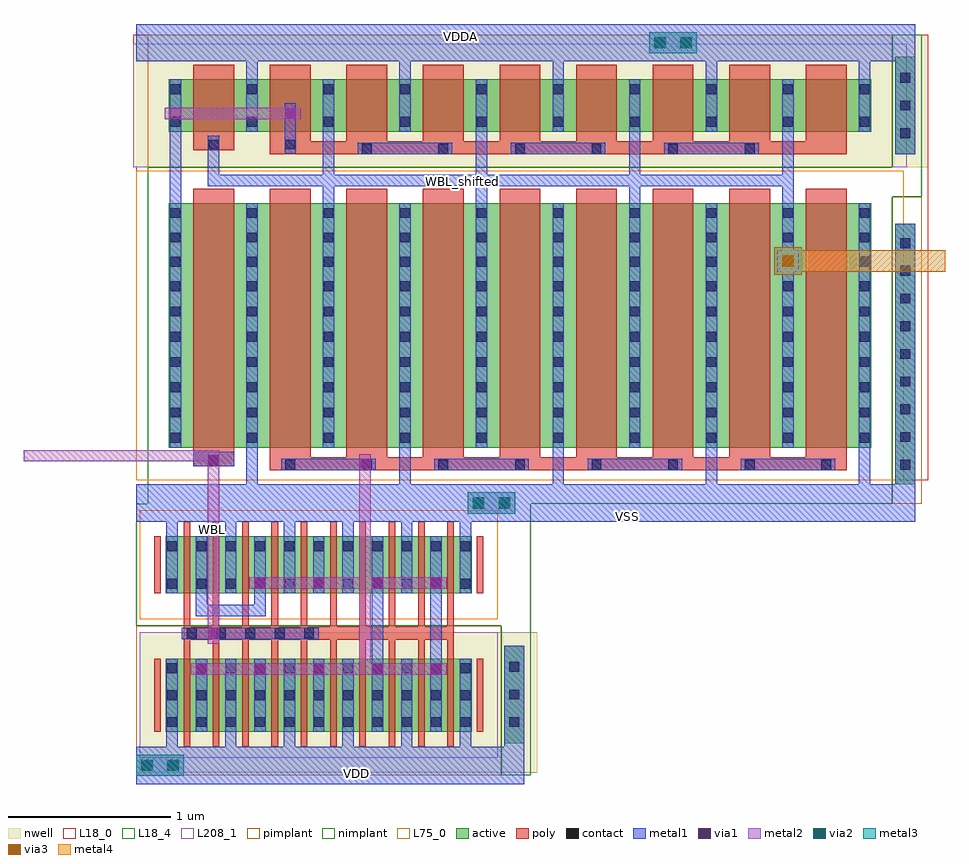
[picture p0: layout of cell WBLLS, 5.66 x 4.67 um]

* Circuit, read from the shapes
.subckt WBLLS VDD VDDA VSS WBL WBL_shifted
M1 n1 WBL VSS VSS nfet w=0.35u l=0.04u m=10
M2 VSS WBL n2 VSS nfet w=1.5u l=0.25u
M3 WBL_shifted n1 VSS VSS nfet w=1.5u l=0.25u m=8
M4 n1 WBL VDD VDD pfet w=0.45u l=0.04u m=10
M5 VDDA WBL_shifted n2 VDDA pfet w=0.32u l=0.25u
M6 WBL_shifted n2 VDDA VDDA pfet w=0.32u l=0.25u m=8
.ends

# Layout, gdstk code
from math import pi, radians
import gdstk
lib = gdstk.Library(unit=1e-6, precision=1e-09)
def R(c, l, rs):  # rectangles x0, y0, x1, y1
    for r in rs: c.add(gdstk.rectangle(r[:2], r[2:], *l))
def A(c, l, x, y, w, h, nx, ny, dx, dy):  # array of equal rectangles
    R(c, l, [(x+i*dx, y+j*dy, x+i*dx+w, y+j*dy+h) for i in range(nx) for j in range(ny)])
nwell = (3, 0)
active = (6, 0)
poly = (17, 0)
L18_0 = (18, 0)
L18_4 = (18, 4)
pimplant = (25, 0)
nimplant = (26, 0)
contact = (30, 0)
metal1 = (31, 0)
metal2 = (32, 0)
metal3 = (33, 0)
metal4 = (34, 0)
via1 = (51, 0)
via2 = (52, 0)
via3 = (53, 0)
L75_0 = (75, 0)
L208_1 = (208, 1)

pch_mac_cdns_74448244368 = lib.new_cell('pch_mac_CDNS_744482443680')
R(pch_mac_cdns_74448244368, nwell, [(-0.27,-0.16,1.93,0.61)])
R(pch_mac_cdns_74448244368, active, [(-0.11,0,0,0.45), (0,0,0.04,0.45), (0.04,0,1.66,0.45), (1.66,0,1.77,0.45)])
A(pch_mac_cdns_74448244368, poly, 0, -0.09, 0.04, 0.09, 10, 2, 0.18, 0.54)
A(pch_mac_cdns_74448244368, poly, -0.18, 0, 0.04, 0.45, 12, 1, 0.18, 0)
R(pch_mac_cdns_74448244368, pimplant, [(-0.29,-0.2,-0.24,0.65), (-0.24,-0.2,1.9,0.65), (1.9,-0.2,1.95,0.65)])
A(pch_mac_cdns_74448244368, contact, -0.1, 0.03, 0.06, 0.06, 11, 3, 0.18, 0.165)
A(pch_mac_cdns_74448244368, metal1, -0.105, 0, 0.07, 0.45, 11, 1, 0.18, 0)
R(pch_mac_cdns_74448244368, L208_1, [(-0.27,-0.16,1.93,0.61)])
pch_mac_cdns_74448244368.add(gdstk.Label('& SerialNumber 000000', (0,0), layer=63, texttype=63))
pch_mac_cdns_74448244368.add(gdstk.Label('& Distributor TSMC', (0,0), layer=63, texttype=63))
pch_mac_cdns_74448244368.add(gdstk.Label('& Metric 1', (0,0), layer=63, texttype=63))
pch_mac_cdns_74448244368.add(gdstk.Label('& PDK Version "tsmcN40_CRN40ULP_v1.5_2b_20200409"', (0,0), layer=63, texttype=63))
pch_mac_cdns_74448244368.add(gdstk.Label('& PDK TechNode "CRN40ULP"', (0,0), layer=63, texttype=63))
pch_mac_cdns_74448244368.add(gdstk.Label('& Product    tsmcN40_PDK', (0,0), layer=63, texttype=63))
pch_mac_cdns_74448244368.add(gdstk.Label('& Vendor     Taiwan Semiconductor manufacturing Corp.', (0,0), layer=63, texttype=63))
pch_mac_cdns_74448244368.add(gdstk.Label('[@instanceName]', (0.02,0.225), layer=127, texttype=0))
pch_mac_cdns_74448244368.add(gdstk.Label('4.5/0.04', (0,0), layer=127, texttype=0))
pch_mac_cdns_74448244368.add(gdstk.Label('pch_mac', (0,0.045), layer=127, texttype=0))
pch_mac_cdns_74448244368.add(gdstk.Label('D', (0.11,0.225), layer=127, texttype=0))
pch_mac_cdns_74448244368.add(gdstk.Label('S', (0.29,0.225), layer=127, texttype=0))
pch_mac_cdns_74448244368.add(gdstk.Label('D', (0.47,0.225), layer=127, texttype=0))
pch_mac_cdns_74448244368.add(gdstk.Label('S', (0.65,0.225), layer=127, texttype=0))
pch_mac_cdns_74448244368.add(gdstk.Label('D', (0.83,0.225), layer=127, texttype=0))
pch_mac_cdns_74448244368.add(gdstk.Label('S', (1.01,0.225), layer=127, texttype=0))
pch_mac_cdns_74448244368.add(gdstk.Label('D', (1.19,0.225), layer=127, texttype=0))
pch_mac_cdns_74448244368.add(gdstk.Label('S', (1.37,0.225), layer=127, texttype=0))
pch_mac_cdns_74448244368.add(gdstk.Label('D', (1.55,0.225), layer=127, texttype=0))
pch_mac_cdns_74448244368.add(gdstk.Label('S', (1.73,0.225), layer=127, texttype=0))
pch_mac_cdns_74448244368.add(gdstk.Label('S', (-0.07,0.225), layer=127, texttype=0))

nch_mac_cdns_74448244368 = lib.new_cell('nch_mac_CDNS_744482443681')
R(nch_mac_cdns_74448244368, active, [(-0.11,0,0,0.35), (0,0,0.04,0.35), (0.04,0,1.66,0.35), (1.66,0,1.77,0.35)])
A(nch_mac_cdns_74448244368, poly, 0, -0.09, 0.04, 0.09, 10, 2, 0.18, 0.44)
A(nch_mac_cdns_74448244368, poly, -0.18, 0, 0.04, 0.35, 12, 1, 0.18, 0)
R(nch_mac_cdns_74448244368, nimplant, [(-0.29,-0.2,-0.24,0.55), (-0.24,-0.2,1.9,0.55), (1.9,-0.2,1.95,0.55)])
A(nch_mac_cdns_74448244368, contact, -0.1, 0.03, 0.06, 0.06, 11, 2, 0.18, 0.23)
A(nch_mac_cdns_74448244368, metal1, -0.105, 0, 0.07, 0.35, 11, 1, 0.18, 0)
R(nch_mac_cdns_74448244368, L75_0, [(-0.27,-0.16,1.93,0.51)])
R(nch_mac_cdns_74448244368, L208_1, [(-0.27,-0.16,1.93,0.51)])
nch_mac_cdns_74448244368.add(gdstk.Label('& SerialNumber 000000', (0,0), layer=63, texttype=63))
nch_mac_cdns_74448244368.add(gdstk.Label('& Distributor TSMC', (0,0), layer=63, texttype=63))
nch_mac_cdns_74448244368.add(gdstk.Label('& Metric 1', (0,0), layer=63, texttype=63))
nch_mac_cdns_74448244368.add(gdstk.Label('& PDK Version "tsmcN40_CRN40ULP_v1.5_2b_20200409"', (0,0), layer=63, texttype=63))
nch_mac_cdns_74448244368.add(gdstk.Label('& PDK TechNode "CRN40ULP"', (0,0), layer=63, texttype=63))
nch_mac_cdns_74448244368.add(gdstk.Label('& Product    tsmcN40_PDK', (0,0), layer=63, texttype=63))
nch_mac_cdns_74448244368.add(gdstk.Label('& Vendor     Taiwan Semiconductor manufacturing Corp.', (0,0), layer=63, texttype=63))
nch_mac_cdns_74448244368.add(gdstk.Label('[@instanceName]', (0.02,0.175), layer=127, texttype=0))
nch_mac_cdns_74448244368.add(gdstk.Label('3.5/0.04', (0,0), layer=127, texttype=0))
nch_mac_cdns_74448244368.add(gdstk.Label('nch_mac', (0,0.045), layer=127, texttype=0))
nch_mac_cdns_74448244368.add(gdstk.Label('D', (0.11,0.175), layer=127, texttype=0))
nch_mac_cdns_74448244368.add(gdstk.Label('S', (0.29,0.175), layer=127, texttype=0))
nch_mac_cdns_74448244368.add(gdstk.Label('D', (0.47,0.175), layer=127, texttype=0))
nch_mac_cdns_74448244368.add(gdstk.Label('S', (0.65,0.175), layer=127, texttype=0))
nch_mac_cdns_74448244368.add(gdstk.Label('D', (0.83,0.175), layer=127, texttype=0))
nch_mac_cdns_74448244368.add(gdstk.Label('S', (1.01,0.175), layer=127, texttype=0))
nch_mac_cdns_74448244368.add(gdstk.Label('D', (1.19,0.175), layer=127, texttype=0))
nch_mac_cdns_74448244368.add(gdstk.Label('S', (1.37,0.175), layer=127, texttype=0))
nch_mac_cdns_74448244368.add(gdstk.Label('D', (1.55,0.175), layer=127, texttype=0))
nch_mac_cdns_74448244368.add(gdstk.Label('S', (1.73,0.175), layer=127, texttype=0))
nch_mac_cdns_74448244368.add(gdstk.Label('S', (-0.07,0.175), layer=127, texttype=0))

pch_25ud18_mac_cdns_7444 = lib.new_cell('pch_25ud18_mac_CDNS_744482443682')
R(pch_25ud18_mac_cdns_7444, nwell, [(-0.37,-0.22,0.62,0.54)])
R(pch_25ud18_mac_cdns_7444, active, [(-0.15,0,0,0.32), (0,0,0.25,0.32), (0.25,0,0.4,0.32)])
R(pch_25ud18_mac_cdns_7444, poly, [(0,-0.09,0.25,0), (0,0,0.25,0.32), (0,0.32,0.25,0.41)])
R(pch_25ud18_mac_cdns_7444, L18_0, [(-0.37,-0.22,0.62,0.54)])
R(pch_25ud18_mac_cdns_7444, L18_4, [(-0.37,-0.22,0.62,0.54)])
R(pch_25ud18_mac_cdns_7444, pimplant, [(-0.28,-0.2,0.53,0.52)])
R(pch_25ud18_mac_cdns_7444, contact, [(-0.14,0.03,-0.08,0.09), (0.33,0.03,0.39,0.09), (-0.14,0.23,-0.08,0.29), (0.33,0.23,0.39,0.29)])
R(pch_25ud18_mac_cdns_7444, metal1, [(-0.145,0,-0.075,0.32), (0.325,0,0.395,0.32)])
R(pch_25ud18_mac_cdns_7444, L208_1, [(-0.37,-0.22,0.62,0.54)])
pch_25ud18_mac_cdns_7444.add(gdstk.Label('& SerialNumber 000000', (0,0), layer=63, texttype=63))
pch_25ud18_mac_cdns_7444.add(gdstk.Label('& Distributor TSMC', (0,0), layer=63, texttype=63))
pch_25ud18_mac_cdns_7444.add(gdstk.Label('& Metric 1', (0,0), layer=63, texttype=63))
pch_25ud18_mac_cdns_7444.add(gdstk.Label('& PDK Version "tsmcN40_CRN40ULP_v1.5_2b_20200409"', (0,0), layer=63, texttype=63))
pch_25ud18_mac_cdns_7444.add(gdstk.Label('& PDK TechNode "CRN40ULP"', (0,0), layer=63, texttype=63))
pch_25ud18_mac_cdns_7444.add(gdstk.Label('& Product    tsmcN40_PDK', (0,0), layer=63, texttype=63))
pch_25ud18_mac_cdns_7444.add(gdstk.Label('& Vendor     Taiwan Semiconductor manufacturing Corp.', (0,0), layer=63, texttype=63))
pch_25ud18_mac_cdns_7444.add(gdstk.Label('[@instanceName]', (0.125,0.16), layer=127, texttype=0))
pch_25ud18_mac_cdns_7444.add(gdstk.Label('0.32/0.25', (0,0), layer=127, texttype=0))
pch_25ud18_mac_cdns_7444.add(gdstk.Label('pch_25ud18_mac', (0,0.045), layer=127, texttype=0))
pch_25ud18_mac_cdns_7444.add(gdstk.Label('D', (0.36,0.16), layer=127, texttype=0))
pch_25ud18_mac_cdns_7444.add(gdstk.Label('S', (-0.11,0.16), layer=127, texttype=0))

c_pch_25ud18_mac_cdns_7444 = lib.new_cell('pch_25ud18_mac_CDNS_744482443683')
R(c_pch_25ud18_mac_cdns_7444, nwell, [(-0.37,-0.22,3.91,0.54)])
R(c_pch_25ud18_mac_cdns_7444, active, [(-0.15,0,0,0.32), (0,0,0.25,0.32), (0.25,0,3.54,0.32), (3.54,0,3.69,0.32)])
A(c_pch_25ud18_mac_cdns_7444, poly, 0, -0.09, 0.25, 0.09, 8, 2, 0.47, 0.41)
A(c_pch_25ud18_mac_cdns_7444, poly, 0, 0, 0.25, 0.32, 8, 1, 0.47, 0)
R(c_pch_25ud18_mac_cdns_7444, L18_0, [(-0.37,-0.22,3.91,0.54)])
R(c_pch_25ud18_mac_cdns_7444, L18_4, [(-0.37,-0.22,3.91,0.54)])
R(c_pch_25ud18_mac_cdns_7444, pimplant, [(-0.28,-0.2,3.82,0.52)])
A(c_pch_25ud18_mac_cdns_7444, contact, -0.14, 0.03, 0.06, 0.06, 9, 2, 0.47, 0.2)
A(c_pch_25ud18_mac_cdns_7444, metal1, -0.145, 0, 0.07, 0.32, 9, 1, 0.47, 0)
R(c_pch_25ud18_mac_cdns_7444, L208_1, [(-0.37,-0.22,3.91,0.54)])
c_pch_25ud18_mac_cdns_7444.add(gdstk.Label('& SerialNumber 000000', (0,0), layer=63, texttype=63))
c_pch_25ud18_mac_cdns_7444.add(gdstk.Label('& Distributor TSMC', (0,0), layer=63, texttype=63))
c_pch_25ud18_mac_cdns_7444.add(gdstk.Label('& Metric 1', (0,0), layer=63, texttype=63))
c_pch_25ud18_mac_cdns_7444.add(gdstk.Label('& PDK Version "tsmcN40_CRN40ULP_v1.5_2b_20200409"', (0,0), layer=63, texttype=63))
c_pch_25ud18_mac_cdns_7444.add(gdstk.Label('& PDK TechNode "CRN40ULP"', (0,0), layer=63, texttype=63))
c_pch_25ud18_mac_cdns_7444.add(gdstk.Label('& Product    tsmcN40_PDK', (0,0), layer=63, texttype=63))
c_pch_25ud18_mac_cdns_7444.add(gdstk.Label('& Vendor     Taiwan Semiconductor manufacturing Corp.', (0,0), layer=63, texttype=63))
c_pch_25ud18_mac_cdns_7444.add(gdstk.Label('[@instanceName]', (0.125,0.16), layer=127, texttype=0))
c_pch_25ud18_mac_cdns_7444.add(gdstk.Label('2.56/0.25', (0,0), layer=127, texttype=0))
c_pch_25ud18_mac_cdns_7444.add(gdstk.Label('pch_25ud18_mac', (0,0.045), layer=127, texttype=0))
c_pch_25ud18_mac_cdns_7444.add(gdstk.Label('D', (0.36,0.16), layer=127, texttype=0))
c_pch_25ud18_mac_cdns_7444.add(gdstk.Label('S', (0.83,0.16), layer=127, texttype=0))
c_pch_25ud18_mac_cdns_7444.add(gdstk.Label('D', (1.3,0.16), layer=127, texttype=0))
c_pch_25ud18_mac_cdns_7444.add(gdstk.Label('S', (1.77,0.16), layer=127, texttype=0))
c_pch_25ud18_mac_cdns_7444.add(gdstk.Label('D', (2.24,0.16), layer=127, texttype=0))
c_pch_25ud18_mac_cdns_7444.add(gdstk.Label('S', (2.71,0.16), layer=127, texttype=0))
c_pch_25ud18_mac_cdns_7444.add(gdstk.Label('D', (3.18,0.16), layer=127, texttype=0))
c_pch_25ud18_mac_cdns_7444.add(gdstk.Label('S', (3.65,0.16), layer=127, texttype=0))
c_pch_25ud18_mac_cdns_7444.add(gdstk.Label('S', (-0.11,0.16), layer=127, texttype=0))

nch_25ud18_mac_cdns_7444 = lib.new_cell('nch_25ud18_mac_CDNS_744482443684')
R(nch_25ud18_mac_cdns_7444, active, [(-0.15,0,0,1.5), (0,0,0.25,1.5), (0.25,0,0.4,1.5)])
R(nch_25ud18_mac_cdns_7444, poly, [(0,-0.09,0.25,0), (0,0,0.25,1.5), (0,1.5,0.25,1.59)])
R(nch_25ud18_mac_cdns_7444, L18_0, [(-0.35,-0.2,0.6,1.7)])
R(nch_25ud18_mac_cdns_7444, L18_4, [(-0.35,-0.2,0.6,1.7)])
R(nch_25ud18_mac_cdns_7444, nimplant, [(-0.28,-0.2,0.53,1.7)])
A(nch_25ud18_mac_cdns_7444, contact, -0.14, 0.03, 0.06, 0.06, 1, 7, 0, 0.155)
A(nch_25ud18_mac_cdns_7444, contact, 0.33, 0.03, 0.06, 0.06, 1, 7, 0, 0.155)
A(nch_25ud18_mac_cdns_7444, contact, -0.14, 1.11, 0.06, 0.06, 1, 3, 0, 0.15)
A(nch_25ud18_mac_cdns_7444, contact, 0.33, 1.11, 0.06, 0.06, 1, 3, 0, 0.15)
R(nch_25ud18_mac_cdns_7444, metal1, [(-0.145,0,-0.075,1.5), (0.325,0,0.395,1.5)])
R(nch_25ud18_mac_cdns_7444, L75_0, [(-0.35,-0.2,0.6,1.7)])
R(nch_25ud18_mac_cdns_7444, L208_1, [(-0.35,-0.2,0.6,1.7)])
nch_25ud18_mac_cdns_7444.add(gdstk.Label('& SerialNumber 000000', (0,0), layer=63, texttype=63))
nch_25ud18_mac_cdns_7444.add(gdstk.Label('& Distributor TSMC', (0,0), layer=63, texttype=63))
nch_25ud18_mac_cdns_7444.add(gdstk.Label('& Metric 1', (0,0), layer=63, texttype=63))
nch_25ud18_mac_cdns_7444.add(gdstk.Label('& PDK Version "tsmcN40_CRN40ULP_v1.5_2b_20200409"', (0,0), layer=63, texttype=63))
nch_25ud18_mac_cdns_7444.add(gdstk.Label('& PDK TechNode "CRN40ULP"', (0,0), layer=63, texttype=63))
nch_25ud18_mac_cdns_7444.add(gdstk.Label('& Product    tsmcN40_PDK', (0,0), layer=63, texttype=63))
nch_25ud18_mac_cdns_7444.add(gdstk.Label('& Vendor     Taiwan Semiconductor manufacturing Corp.', (0,0), layer=63, texttype=63))
nch_25ud18_mac_cdns_7444.add(gdstk.Label('[@instanceName]', (0.125,0.75), layer=127, texttype=0))
nch_25ud18_mac_cdns_7444.add(gdstk.Label('1.5/0.25', (0,0), layer=127, texttype=0))
nch_25ud18_mac_cdns_7444.add(gdstk.Label('nch_25ud18_mac', (0,0.045), layer=127, texttype=0))
nch_25ud18_mac_cdns_7444.add(gdstk.Label('D', (0.36,0.75), layer=127, texttype=0))
nch_25ud18_mac_cdns_7444.add(gdstk.Label('S', (-0.11,0.75), layer=127, texttype=0))

c_nch_25ud18_mac_cdns_7444 = lib.new_cell('nch_25ud18_mac_CDNS_744482443685')
R(c_nch_25ud18_mac_cdns_7444, active, [(-0.15,0,0,1.5), (0,0,0.25,1.5), (0.25,0,3.54,1.5), (3.54,0,3.69,1.5)])
A(c_nch_25ud18_mac_cdns_7444, poly, 0, -0.09, 0.25, 0.09, 8, 2, 0.47, 1.59)
A(c_nch_25ud18_mac_cdns_7444, poly, 0, 0, 0.25, 1.5, 8, 1, 0.47, 0)
R(c_nch_25ud18_mac_cdns_7444, L18_0, [(-0.35,-0.2,3.89,1.7)])
R(c_nch_25ud18_mac_cdns_7444, L18_4, [(-0.35,-0.2,3.89,1.7)])
R(c_nch_25ud18_mac_cdns_7444, nimplant, [(-0.28,-0.2,3.82,1.7)])
A(c_nch_25ud18_mac_cdns_7444, contact, -0.14, 0.03, 0.06, 0.06, 9, 7, 0.47, 0.155)
A(c_nch_25ud18_mac_cdns_7444, contact, -0.14, 1.11, 0.06, 0.06, 9, 3, 0.47, 0.15)
A(c_nch_25ud18_mac_cdns_7444, metal1, -0.145, 0, 0.07, 1.5, 9, 1, 0.47, 0)
R(c_nch_25ud18_mac_cdns_7444, L75_0, [(-0.35,-0.2,3.89,1.7)])
R(c_nch_25ud18_mac_cdns_7444, L208_1, [(-0.35,-0.2,3.89,1.7)])
c_nch_25ud18_mac_cdns_7444.add(gdstk.Label('& SerialNumber 000000', (0,0), layer=63, texttype=63))
c_nch_25ud18_mac_cdns_7444.add(gdstk.Label('& Distributor TSMC', (0,0), layer=63, texttype=63))
c_nch_25ud18_mac_cdns_7444.add(gdstk.Label('& Metric 1', (0,0), layer=63, texttype=63))
c_nch_25ud18_mac_cdns_7444.add(gdstk.Label('& PDK Version "tsmcN40_CRN40ULP_v1.5_2b_20200409"', (0,0), layer=63, texttype=63))
c_nch_25ud18_mac_cdns_7444.add(gdstk.Label('& PDK TechNode "CRN40ULP"', (0,0), layer=63, texttype=63))
c_nch_25ud18_mac_cdns_7444.add(gdstk.Label('& Product    tsmcN40_PDK', (0,0), layer=63, texttype=63))
c_nch_25ud18_mac_cdns_7444.add(gdstk.Label('& Vendor     Taiwan Semiconductor manufacturing Corp.', (0,0), layer=63, texttype=63))
c_nch_25ud18_mac_cdns_7444.add(gdstk.Label('[@instanceName]', (0.125,0.75), layer=127, texttype=0))
c_nch_25ud18_mac_cdns_7444.add(gdstk.Label('12.0/0.25', (0,0), layer=127, texttype=0))
c_nch_25ud18_mac_cdns_7444.add(gdstk.Label('nch_25ud18_mac', (0,0.045), layer=127, texttype=0))
c_nch_25ud18_mac_cdns_7444.add(gdstk.Label('D', (0.36,0.75), layer=127, texttype=0))
c_nch_25ud18_mac_cdns_7444.add(gdstk.Label('S', (0.83,0.75), layer=127, texttype=0))
c_nch_25ud18_mac_cdns_7444.add(gdstk.Label('D', (1.3,0.75), layer=127, texttype=0))
c_nch_25ud18_mac_cdns_7444.add(gdstk.Label('S', (1.77,0.75), layer=127, texttype=0))
c_nch_25ud18_mac_cdns_7444.add(gdstk.Label('D', (2.24,0.75), layer=127, texttype=0))
c_nch_25ud18_mac_cdns_7444.add(gdstk.Label('S', (2.71,0.75), layer=127, texttype=0))
c_nch_25ud18_mac_cdns_7444.add(gdstk.Label('D', (3.18,0.75), layer=127, texttype=0))
c_nch_25ud18_mac_cdns_7444.add(gdstk.Label('S', (3.65,0.75), layer=127, texttype=0))
c_nch_25ud18_mac_cdns_7444.add(gdstk.Label('S', (-0.11,0.75), layer=127, texttype=0))

m2_m1c_cdns_744482443686 = lib.new_cell('M2_M1c_CDNS_744482443686')
R(m2_m1c_cdns_744482443686, metal1, [(-0.035,-0.065,0.035,0.065)])
R(m2_m1c_cdns_744482443686, metal2, [(-0.065,-0.035,0.065,0.035)])
R(m2_m1c_cdns_744482443686, via1, [(-0.035,-0.035,0.035,0.035)])

m1_od_cdns_744482443680 = lib.new_cell('M1_OD_CDNS_744482443680')
R(m1_od_cdns_744482443680, active, [(-0.06,-0.3,0.06,0.3)])
A(m1_od_cdns_744482443680, contact, -0.03, -0.2, 0.06, 0.06, 1, 3, 0, 0.17)
R(m1_od_cdns_744482443680, metal1, [(-0.06,-0.3,0.06,0.3)])

m1_od_cdns_744482443681 = lib.new_cell('M1_OD_CDNS_744482443681')
R(m1_od_cdns_744482443681, active, [(-0.06,-0.8,0.06,0.8)])
A(m1_od_cdns_744482443681, contact, -0.03, -0.71, 0.06, 0.06, 1, 9, 0, 0.17)
R(m1_od_cdns_744482443681, metal1, [(-0.06,-0.8,0.06,0.8)])

m4_m3_cdns_744482443682 = lib.new_cell('M4_M3_CDNS_744482443682')
R(m4_m3_cdns_744482443682, metal3, [(-0.085,-0.085,0.085,0.085)])
R(m4_m3_cdns_744482443682, metal4, [(-0.065,-0.065,0.065,0.065)])
R(m4_m3_cdns_744482443682, via3, [(-0.035,-0.035,0.035,0.035)])

m3_m2_cdns_744482443683 = lib.new_cell('M3_M2_CDNS_744482443683')
R(m3_m2_cdns_744482443683, metal2, [(-0.085,-0.085,0.085,0.085)])
R(m3_m2_cdns_744482443683, metal3, [(-0.085,-0.085,0.085,0.085)])
R(m3_m2_cdns_744482443683, via2, [(-0.035,-0.035,0.035,0.035)])

m2_m1_cdns_744482443684 = lib.new_cell('M2_M1_CDNS_744482443684')
R(m2_m1_cdns_744482443684, metal1, [(-0.065,-0.065,0.065,0.065)])
R(m2_m1_cdns_744482443684, metal2, [(-0.085,-0.085,0.085,0.085)])
R(m2_m1_cdns_744482443684, via1, [(-0.035,-0.035,0.035,0.035)])

m3_m2_cdns_744482443685 = lib.new_cell('M3_M2_CDNS_744482443685')
R(m3_m2_cdns_744482443685, metal2, [(-0.145,-0.065,0.145,0.065)])
R(m3_m2_cdns_744482443685, metal3, [(-0.145,-0.065,0.145,0.065)])
R(m3_m2_cdns_744482443685, via2, [(-0.115,-0.035,-0.045,0.035), (0.045,-0.035,0.115,0.035)])

m2_m1_cdns_744482443686 = lib.new_cell('M2_M1_CDNS_744482443686')
R(m2_m1_cdns_744482443686, metal1, [(-0.145,-0.065,0.145,0.065)])
R(m2_m1_cdns_744482443686, metal2, [(-0.145,-0.065,0.145,0.065)])
R(m2_m1_cdns_744482443686, via1, [(-0.115,-0.035,-0.045,0.035), (0.045,-0.035,0.115,0.035)])

wblls = lib.new_cell('WBLLS')
R(wblls, nwell, [(3.31,-5.515,5.75,-5.425), (5.51,-5.425,5.75,-4.655), (5.62,-5.415,5.75,-4.655), (8.02,-1.8,8.15,-1.04), (3.27,-1.04,8.15,-0.985)])
A(wblls, poly, 3.58, -4.75, 0.04, 0.275, 10, 1, 0.18, 0)
A(wblls, poly, 3.64, -3.635, 0.25, 0.025, 5, 1, 0.94, 0)
A(wblls, poly, 5.05, -1.695, 0.25, 0.025, 3, 1, 0.94, 0)
R(wblls, poly, [(3.58,-4.7,5.24,-4.62), (4.11,-3.66,7.65,-3.58), (4.11,-1.72,7.65,-1.64), (3.64,-1.695,3.89,-1.67), (4.58,-1.695,4.83,-1.67)])
R(wblls, L18_0, [(8,-3.72,8.15,-1.8), (3.29,-1.82,8,-1.8), (8.02,-1.8,8.15,-1.04), (3.27,-1.04,8.15,-0.985)])
R(wblls, pimplant, [(3.29,-5.53,5.53,-5.465), (7.93,-3.865,8.11,-1.98), (3.36,-1.8,7.93,-1.78), (3.36,-1.06,7.93,-0.985)])
R(wblls, nimplant, [(5.53,-5.53,5.71,-4.615), (5.53,-4.615,5.71,-3.865), (3.36,-3.865,7.93,-3.72), (7.93,-1.98,8.11,-1.06), (3.36,-1.82,7.93,-1.8), (7.93,-1.06,8.11,-0.985)])
A(wblls, contact, 3.6, -4.69, 0.06, 0.06, 5, 1, 0.18, 0)
A(wblls, contact, 4.205, -3.655, 0.06, 0.06, 8, 1, 0.47, 0)
A(wblls, contact, 4.675, -1.715, 0.06, 0.06, 6, 1, 0.47, 0)
R(wblls, contact, [(3.735,-3.63,3.795,-3.57), (3.735,-1.69,3.795,-1.63), (4.205,-1.69,4.265,-1.63)])
A(wblls, metal1, 3.475, -5.425, 0.07, 0.21, 6, 2, 0.36, 1.31)
A(wblls, metal1, 3.965, -3.785, 0.07, 0.28, 5, 2, 0.94, 2.395)
A(wblls, metal1, 4.18, -3.66, 0.58, 0.07, 4, 1, 0.94, 0)
A(wblls, metal1, 3.495, -2.06, 0.07, 0.5, 5, 1, 0.94, 0)
A(wblls, metal1, 4.65, -1.72, 0.58, 0.07, 3, 1, 0.94, 0)
R(wblls, metal1, [(3.29,-5.585,5.53,-5.355), (5.53,-5.585,5.67,-5.355), (5.55,-5.445,5.67,-5.31), (5.095,-4.835,5.165,-4.4), (4.735,-4.83,4.805,-4.4), (3.57,-4.695,4.41,-4.625), (3.655,-4.555,4.085,-4.485), (4.015,-4.51,4.085,-4.4), (3.655,-4.505,3.725,-4.4), (3.29,-3.975,8,-3.745), (7.985,-3.975,8.07,-3.745), (3.64,-3.635,3.89,-3.545), (3.73,-1.915,4.475,-1.845), (3.73,-1.915,3.8,-1.605), (4.435,-1.915,7.325,-1.845), (4.2,-1.715,4.27,-1.405), (3.29,-1.15,8,-0.92), (8,-1.15,8.07,-0.92)])
R(wblls, metal2, [(3.74,-4.915,5.085,-4.845), (4.66,-4.9,4.73,-3.575), (3.73,-4.615,3.8,-3.65), (4.01,-4.385,5.11,-4.315), (2.6,-3.605,3.28,-3.535), (3.165,-3.605,3.8,-3.535), (3.53,-1.505,4.195,-1.435)])
R(wblls, metal4, [(7.205,-2.46,7.375,-2.29), (7.225,-2.44,8.255,-2.31)])
wblls.add(gdstk.Reference(pch_mac_cdns_74448244368, (3.58,-4.815), x_reflection=True))
wblls.add(gdstk.Reference(nch_mac_cdns_74448244368, (3.58,-4.065), x_reflection=True))
wblls.add(gdstk.Reference(pch_25ud18_mac_cdns_7444, (3.64,-1.58)))
wblls.add(gdstk.Reference(c_pch_25ud18_mac_cdns_7444, (4.11,-1.58)))
wblls.add(gdstk.Reference(nch_25ud18_mac_cdns_7444, (3.64,-3.52)))
wblls.add(gdstk.Reference(c_nch_25ud18_mac_cdns_7444, (4.11,-3.52)))
wblls.add(gdstk.Reference(m2_m1c_cdns_744482443686, (5.13,-4.35)))
wblls.add(gdstk.Reference(m2_m1c_cdns_744482443686, (4.77,-4.35)))
wblls.add(gdstk.Reference(m2_m1c_cdns_744482443686, (4.41,-4.35)))
wblls.add(gdstk.Reference(m2_m1c_cdns_744482443686, (4.235,-1.47)))
wblls.add(gdstk.Reference(m2_m1c_cdns_744482443686, (3.53,-1.47)))
wblls.add(gdstk.Reference(m2_m1c_cdns_744482443686, (5.13,-4.88)))
wblls.add(gdstk.Reference(m2_m1c_cdns_744482443686, (4.77,-4.88)))
wblls.add(gdstk.Reference(m2_m1c_cdns_744482443686, (3.765,-3.6), rotation=3*pi/2))
wblls.add(gdstk.Reference(m2_m1c_cdns_744482443686, (3.765,-4.66), rotation=3*pi/2))
wblls.add(gdstk.Reference(m2_m1c_cdns_744482443686, (4.695,-3.625), rotation=pi/2))
wblls.add(gdstk.Reference(m2_m1c_cdns_744482443686, (4.05,-4.35)))
wblls.add(gdstk.Reference(m2_m1c_cdns_744482443686, (4.41,-4.88)))
wblls.add(gdstk.Reference(m2_m1c_cdns_744482443686, (4.05,-4.88)))
wblls.add(gdstk.Reference(m2_m1c_cdns_744482443686, (3.69,-4.88)))
wblls.add(gdstk.Reference(m1_od_cdns_744482443680, (5.61,-5.035)))
wblls.add(gdstk.Reference(m1_od_cdns_744482443680, (8.01,-1.42)))
wblls.add(gdstk.Reference(m1_od_cdns_744482443681, (8.01,-2.945)))
wblls.add(gdstk.Reference(m4_m3_cdns_744482443682, (7.29,-2.375)))
wblls.add(gdstk.Reference(m3_m2_cdns_744482443683, (7.29,-2.375)))
wblls.add(gdstk.Reference(m2_m1_cdns_744482443684, (7.29,-2.375)))
wblls.add(gdstk.Reference(m3_m2_cdns_744482443685, (3.435,-5.47)))
wblls.add(gdstk.Reference(m3_m2_cdns_744482443685, (6.585,-1.035)))
wblls.add(gdstk.Reference(m3_m2_cdns_744482443685, (5.47,-3.86)))
wblls.add(gdstk.Reference(m2_m1_cdns_744482443686, (5.47,-3.86)))
wblls.add(gdstk.Reference(m2_m1_cdns_744482443686, (3.435,-5.47)))
wblls.add(gdstk.Reference(m2_m1_cdns_744482443686, (6.585,-1.035)))
wblls.add(gdstk.Label('WBL', (3.755,-4.02), layer=132, texttype=0))
wblls.add(gdstk.Label('WBL_shifted', (5.29,-1.885), layer=131, texttype=0))
wblls.add(gdstk.Label('VSS', (6.305,-3.94), layer=131, texttype=0))
wblls.add(gdstk.Label('VDDA', (5.28,-0.995), layer=131, texttype=0))
wblls.add(gdstk.Label('VDD', (4.64,-5.52), layer=131, texttype=0))

lib.write_gds('WBLLS.gds')
